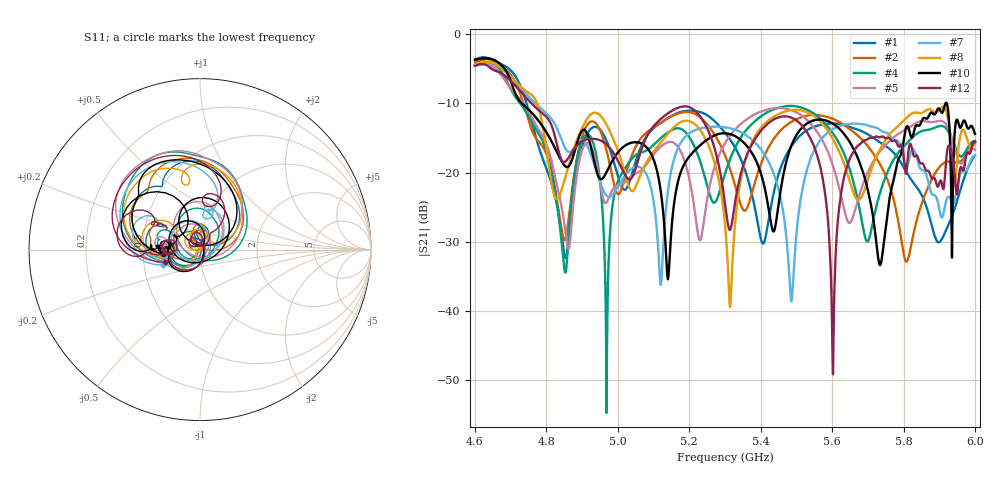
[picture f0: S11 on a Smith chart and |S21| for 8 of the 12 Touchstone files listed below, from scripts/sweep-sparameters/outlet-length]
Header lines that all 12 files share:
! TOUCHSTONE file generated by CST MICROWAVE STUDIO
! Project name: test_tuning.cst
! Header version: 2024
! Port assignment regex: !\s*Touchstone port\s*([0-9]+)\s*=\s*(CST MWS port|CST DES external port|CST DES block port)\s*(.+)\s* \(\"(.*)\"\)(\s*mode\s*([0-9]+))?.*
! Touchstone port assignment:
! Touchstone port 1 = CST MWS port 1 ("Input1")
! Touchstone port 2 = CST MWS port 2 ("Input2")
# GHz S MA R 50
Fixed: airCoaxOuterDiameter = 3, chamferAngle = 45, chamferWidth = 24, connectorLength = 10, drillingHoleDiameter = 4.1, feedLength = 60, flareDiameter = 130, flareLength = 70, gratingDistance = 0, gratingGap = 1.90274, polarizerLength = 134, probe1Diameter = 1.3, probe1Distance = 14, probe1Length = 12, probe2Diameter = 1.3, probe2Distance = 0, probe2Length = 12, probeLength = 12, smaInnerDiameter = 1.3, smaOuterDiameter = 4.1, transitionCoefficient = 1.33, waveguideFeedLength = 30, waveguideSide = 50, waveguideThickness = 3, wireCount = 25, wireDiameter = 1.17699
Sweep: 4.6 GHz to 6 GHz
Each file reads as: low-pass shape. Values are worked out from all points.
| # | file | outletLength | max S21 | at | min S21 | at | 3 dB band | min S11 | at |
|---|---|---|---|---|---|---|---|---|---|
| 1 | outlet_length_1.s2p | 5 | -3.32 dB | 4.622 GHz | -32.4 dB | 4.853 GHz | 4.6 GHz-4.715 GHz | -43.6 dB | 5.294 GHz |
| 2 | outlet_length_2.s2p | 10 | -3.60 dB | 4.634 GHz | -32.9 dB | 5.808 GHz | 4.6 GHz-4.709 GHz | -59.0 dB | 5.152 GHz |
| 3 | outlet_length_3.s2p | 15 | -3.92 dB | 4.641 GHz | -40.9 dB | 5.751 GHz | 4.6 GHz-4.699 GHz | -35.8 dB | 5.335 GHz |
| 4 | outlet_length_4.s2p | 20 | -4.16 dB | 4.638 GHz | -54.8 dB | 4.968 GHz | 4.6 GHz-4.692 GHz | -31.2 dB | 5.342 GHz |
| 5 | outlet_length_5.s2p | 25 | -4.13 dB | 4.622 GHz | -31.1 dB | 4.862 GHz | 4.6 GHz-4.69 GHz | -27.3 dB | 4.897 GHz |
| 6 | outlet_length_6.s2p | 30 | -4.12 dB | 4.621 GHz | -53.6 dB | 5.191 GHz | 4.6 GHz-4.699 GHz | -29.3 dB | 4.887 GHz |
| 7 | outlet_length_7.s2p | 40 | -4.15 dB | 4.642 GHz | -38.6 dB | 5.486 GHz | 4.6 GHz-4.718 GHz | -27.9 dB | 5.3 GHz |
| 8 | outlet_length_9.s2p | 60 | -3.96 dB | 4.636 GHz | -39.5 dB | 5.314 GHz | 4.6 GHz-4.715 GHz | -51.8 dB | 5.307 GHz |
| 9 | outlet_length_10.s2p | 70 | -3.88 dB | 4.634 GHz | -43.4 dB | 5.259 GHz | 4.6 GHz-4.72 GHz | -31.0 dB | 4.923 GHz |
| 10 | outlet_length_12.s2p | 90 | -3.47 dB | 4.629 GHz | -35.4 dB | 5.14 GHz | 4.6 GHz-4.697 GHz | -33.9 dB | 5.311 GHz |
| 11 | outlet_length_13.s2p | 100 | -3.95 dB | 4.629 GHz | -60.8 dB | 5.37 GHz | 4.6 GHz-4.687 GHz | -30.6 dB | 5.048 GHz |
| 12 | outlet_length_14.s2p | 110 | -4.31 dB | 4.62 GHz | -49.2 dB | 5.602 GHz | 4.6 GHz-4.711 GHz | -34.2 dB | 5.037 GHz |
